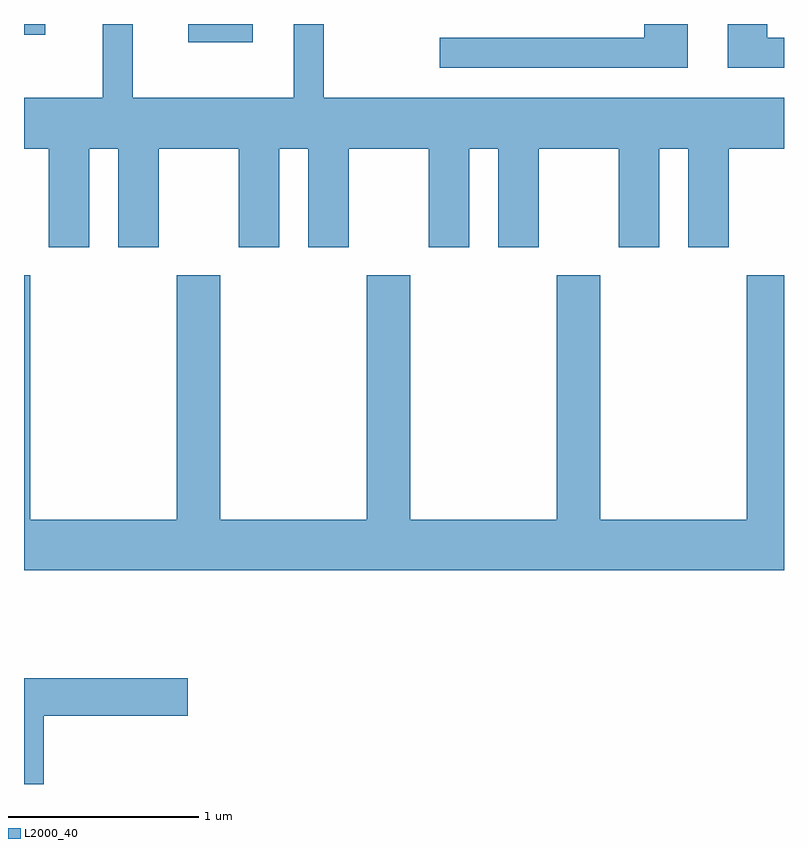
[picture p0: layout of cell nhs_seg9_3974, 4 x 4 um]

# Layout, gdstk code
import gdstk
lib = gdstk.Library(unit=1e-6, precision=1e-09)
def R(c, l, rs):  # rectangles x0, y0, x1, y1
    for r in rs: c.add(gdstk.rectangle(r[:2], r[2:], *l))
def P(c, l, *ps):  # polygons
    for p in ps: c.add(gdstk.Polygon(p, *l))
L2000_40 = (2000, 40)

nhs_seg9_3974 = lib.new_cell('nhs_seg9_3974')
R(nhs_seg9_3974, L2000_40, [(302.476,2032.336,302.814,2032.432), (301.611,2032.376,301.724,2032.432)])
P(nhs_seg9_3974, L2000_40, [(305.611,2032.359),(305.524,2032.359),(305.524,2032.432),(305.316,2032.432),(305.316,2032.201),(305.611,2032.201)],
  [(305.104,2032.432),(304.876,2032.432),(304.876,2032.359),(303.798,2032.359),(303.798,2032.201),(305.104,2032.201)],
  [(303.189,2032.432),(303.031,2032.432),(303.031,2032.044),(302.184,2032.044),(302.184,2032.432),(302.026,2032.432),(302.026,2032.044),(301.611,2032.044),(301.611,2031.776),(301.741,2031.776),(301.741,2031.256),(301.954,2031.256),(301.954,2031.776),(302.106,2031.776),(302.106,2031.256),(302.319,2031.256),(302.319,2031.776),(302.741,2031.776),(302.741,2031.256),(302.954,2031.256),(302.954,2031.776),(303.106,2031.776),(303.106,2031.256),(303.319,2031.256),(303.319,2031.776),(303.741,2031.776),(303.741,2031.256),(303.954,2031.256),(303.954,2031.776),(304.106,2031.776),(304.106,2031.256),(304.319,2031.256),(304.319,2031.776),(304.741,2031.776),(304.741,2031.256),(304.954,2031.256),(304.954,2031.776),(305.106,2031.776),(305.106,2031.256),(305.319,2031.256),(305.319,2031.776),(305.611,2031.776),(305.611,2032.044),(303.189,2032.044)],
  [(305.611,2031.109),(305.416,2031.109),(305.416,2029.824),(304.644,2029.824),(304.644,2031.109),(304.416,2031.109),(304.416,2029.824),(303.644,2029.824),(303.644,2031.109),(303.416,2031.109),(303.416,2029.824),(302.644,2029.824),(302.644,2031.109),(302.416,2031.109),(302.416,2029.824),(301.644,2029.824),(301.644,2031.109),(301.611,2031.109),(301.611,2029.556),(305.611,2029.556)],
  [(301.714,2028.791),(302.474,2028.791),(302.474,2028.989),(301.611,2028.989),(301.611,2028.432),(301.714,2028.432)])

lib.write_gds('nhs_seg9_3974.gds')
